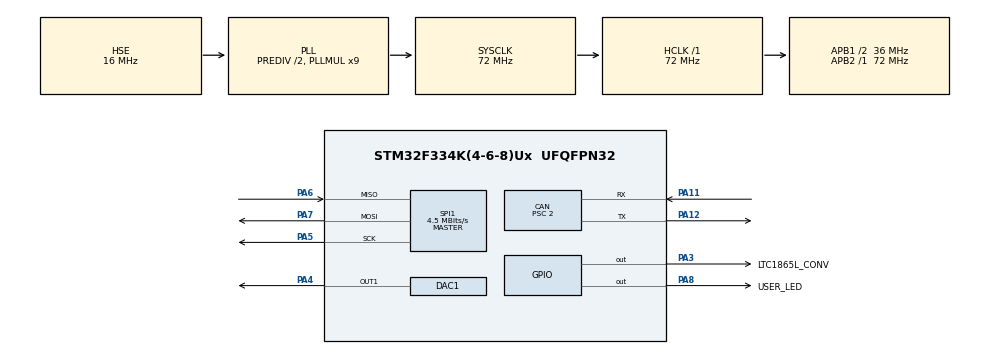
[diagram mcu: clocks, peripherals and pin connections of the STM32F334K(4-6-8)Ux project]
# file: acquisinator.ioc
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CAN.BS1=CAN_BS1_15TQ
CAN.BS2=CAN_BS2_2TQ
CAN.CalculateBaudRate=1000000
CAN.CalculateTimeBit=1000
CAN.CalculateTimeQuantum=55.55555555555556
CAN.Mode=CAN_MODE_NORMAL
CAN.Prescaler=2
Mcu.Family=STM32F3
Mcu.Name=STM32F334K(4-6-8)Ux
Mcu.Package=UFQFPN32
NVIC.CAN_RX0_IRQn=true\:1\:0\:true\:false\:true\:true\:true\:true
NVIC.CAN_RX1_IRQn=true\:1\:0\:true\:false\:true\:true\:true\:true
NVIC.CAN_TX_IRQn=true\:1\:0\:true\:false\:true\:true\:true\:true
NVIC.PriorityGroup=NVIC_PRIORITYGROUP_4
NVIC.TIM2_IRQn=true\:0\:0\:false\:false\:true\:true\:true\:true
NVIC.TIM7_DAC2_IRQn=true\:15\:0\:false\:false\:true\:false\:true\:true
NVIC.TimeBase=TIM7_DAC2_IRQn
NVIC.TimeBaseIP=TIM7
PA11.Mode=CAN_Activate
PA11.Signal=CAN_RX
PA12.Mode=CAN_Activate
PA12.Signal=CAN_TX
PA3.GPIO_Label=LTC1865L_CONV
PA3.Signal=GPIO_Output
PA4.Signal=COMP_DAC11_group
PA5.Mode=Full_Duplex_Master
PA5.Signal=SPI1_SCK
PA6.Mode=Full_Duplex_Master
PA6.Signal=SPI1_MISO
PA7.Mode=Full_Duplex_Master
PA7.Signal=SPI1_MOSI
PA8.GPIO_Label=USER_LED
PA8.Signal=GPIO_Output
PF0\ /\ OSC_IN.Mode=HSE-External-Oscillator
PF0\ /\ OSC_IN.Signal=RCC_OSC_IN
PF1\ /\ OSC_OUT.Mode=HSE-External-Oscillator
PF1\ /\ OSC_OUT.Signal=RCC_OSC_OUT
ProjectManager.HeapSize=0x200
ProjectManager.StackSize=0x400
ProjectManager.TargetToolchain=Makefile
RCC.AHBFreq_Value=72000000
RCC.APB1CLKDivider=RCC_HCLK_DIV2
RCC.APB1Freq_Value=36000000
RCC.APB1TimFreq_Value=72000000
RCC.APB2Freq_Value=72000000
RCC.APB2TimFreq_Value=72000000
RCC.CortexFreq_Value=72000000
RCC.HCLKFreq_Value=72000000
RCC.HSE_VALUE=16000000
RCC.HSI_VALUE=8000000
RCC.PLLMUL=RCC_PLL_MUL9
RCC.PLLSourceVirtual=RCC_PLLSOURCE_HSE
RCC.RCC_PLLsource_Clock_Source_FROM_HSE=RCC_HSE_PREDIV_DIV2
RCC.SYSCLKFreq_VALUE=72000000
RCC.SYSCLKSourceVirtual=RCC_SYSCLKSOURCE_PLLCLK
SH.COMP_DAC11_group.0=DAC1_OUT1,DAC_OUT1
SPI1.BaudRatePrescaler=SPI_BAUDRATEPRESCALER_16
SPI1.CalculateBaudRate=4.5 MBits/s
SPI1.DataSize=SPI_DATASIZE_8BIT
SPI1.Direction=SPI_DIRECTION_2LINES
SPI1.Mode=SPI_MODE_MASTER
SPI1.VirtualType=VM_MASTER
TIM2.AutoReloadPreload=TIM_AUTORELOAD_PRELOAD_ENABLE
TIM2.ClockDivision=TIM_CLOCKDIVISION_DIV1
TIM2.CounterMode=TIM_COUNTERMODE_UP
TIM2.Period=999
TIM2.Prescaler=71
VP_SYS_VS_tim7.Mode=TIM7
VP_TIM2_VS_ClockSourceINT.Mode=Internal
board=custom

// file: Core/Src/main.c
/* USER CODE BEGIN Header */
/**
  ******************************************************************************
  * @file           : main.c
  * @brief          : Main program body
  ******************************************************************************
  * @attention
  *
  * Copyright (c) 2026 STMicroelectronics.
  * All rights reserved.
  *
  * This software is licensed under terms that can be found in the LICENSE file
  * in the root directory of this software component.
  * If no LICENSE file comes with this software, it is provided AS-IS.
  *
  ******************************************************************************
  */
/* USER CODE END Header */
#include "main.h"
#include "can.h"
#include "dac.h"
#include "spi.h"
#include "tim.h"
#include "gpio.h"

/* USER CODE BEGIN Includes */
#include "can-communications-api.h"
#include "lockin-api.h"
#include "ltc1865l-api.h"
#include "raw-stream-api.h"
/* USER CODE END Includes */

void SystemClock_Config(void);

int main(void)
{

  /* MCU Configuration--------------------------------------------------------*/

  /* Reset of all peripherals, Initializes the Flash interface and the Systick. */
  HAL_Init();

  /* Configure the system clock */
  SystemClock_Config();

  /* Initialize all configured peripherals */
  MX_GPIO_Init();
  MX_SPI1_Init();
  MX_CAN_Init();
  MX_DAC1_Init();
  MX_TIM2_Init();
  /* USER CODE BEGIN 2 */
  dwt_init();

  const struct Ltc1865lConfig adc_config = {
    .spi_callback = spi_ltc1865l_transfer,
    .delay_callback = dwt_delay_us,
    .conv_callback = gpio_ltc1865l_conv,
    .channel = LTC1865L_CHANNEL_0,
  };
  if (ltc1865l_api_init(adc_config) != LTC1865L_RC_OK) {
    Error_Handler();
  }

  const struct CanCommunicationsNetworkConfig can_config = {
    .send = can_send,
    .on_receive = can_on_receive,
    .cs_enter = __disable_irq,
    .cs_exit = __enable_irq,
  };
  if (can_communications_api_init(can_config) != CAN_COMMUNICATION_RC_OK) {
    Error_Handler();
  }
  can_start();

  const struct RawStreamConfig stream_config = {
    .cs_enter = __disable_irq,
    .cs_exit = __enable_irq,
  };
  if (raw_stream_api_init(stream_config) != RAW_STREAM_RC_OK) {
    Error_Handler();
  }

  dac_excitation_start(lockin_api_init());

  // Keep last: the TIM2 ISR starts sampling as soon as the timer runs
  tim_sampling_start(LOCKIN_SAMPLE_RATE_HZ);
  /* USER CODE END 2 */

  /* Infinite loop */
  /* USER CODE BEGIN WHILE */
  while (1)
  {
    (void)lockin_api_send_result();
    (void)raw_stream_api_process();
    (void)can_communications_api_process_tx();
    (void)can_communications_api_process_rx();
    /* USER CODE END WHILE */

  }
}

void SystemClock_Config(void)
{
  RCC_OscInitTypeDef RCC_OscInitStruct = {0};
  RCC_ClkInitTypeDef RCC_ClkInitStruct = {0};

  /** Initializes the RCC Oscillators according to the specified parameters
  * in the RCC_OscInitTypeDef structure.
  */
  RCC_OscInitStruct.OscillatorType = RCC_OSCILLATORTYPE_HSE;
  RCC_OscInitStruct.HSEState = RCC_HSE_ON;
  RCC_OscInitStruct.HSEPredivValue = RCC_HSE_PREDIV_DIV2;
  RCC_OscInitStruct.HSIState = RCC_HSI_ON;
  RCC_OscInitStruct.PLL.PLLState = RCC_PLL_ON;
  RCC_OscInitStruct.PLL.PLLSource = RCC_PLLSOURCE_HSE;
  RCC_OscInitStruct.PLL.PLLMUL = RCC_PLL_MUL9;
  if (HAL_RCC_OscConfig(&RCC_OscInitStruct) != HAL_OK)
  {
    Error_Handler();
  }

  /** Initializes the CPU, AHB and APB buses clocks
  */
  RCC_ClkInitStruct.ClockType = RCC_CLOCKTYPE_HCLK|RCC_CLOCKTYPE_SYSCLK
                              |RCC_CLOCKTYPE_PCLK1|RCC_CLOCKTYPE_PCLK2;
  RCC_ClkInitStruct.SYSCLKSource = RCC_SYSCLKSOURCE_PLLCLK;
  RCC_ClkInitStruct.AHBCLKDivider = RCC_SYSCLK_DIV1;
  RCC_ClkInitStruct.APB1CLKDivider = RCC_HCLK_DIV2;
  RCC_ClkInitStruct.APB2CLKDivider = RCC_HCLK_DIV1;

  if (HAL_RCC_ClockConfig(&RCC_ClkInitStruct, FLASH_LATENCY_2) != HAL_OK)
  {
    Error_Handler();
  }
}

void HAL_TIM_PeriodElapsedCallback(TIM_HandleTypeDef *htim)
{
  if (htim->Instance == TIM7)
  {
    HAL_IncTick();
  }
  /* USER CODE BEGIN Callback 1 */
  if (htim->Instance == TIM2) {
    uint16_t raw = 0U;
    // SPI failures are counted inside the ADC module
    const bool sample_ok = ltc1865l_api_read(&raw) == LTC1865L_RC_OK;
    // Always called: the excitation must advance even when the read fails
    dac_excitation_write(lockin_api_on_sample(sample_ok, raw));
    if (sample_ok) {
      raw_stream_api_on_sample(raw);
    }
  }
  /* USER CODE END Callback 1 */
}

void Error_Handler(void)
{
  __disable_irq();
  while (1)
  {
  }
}
